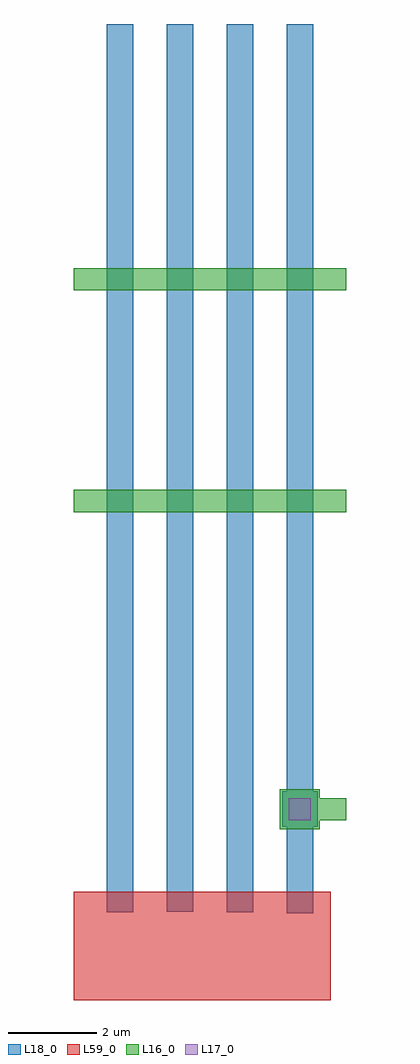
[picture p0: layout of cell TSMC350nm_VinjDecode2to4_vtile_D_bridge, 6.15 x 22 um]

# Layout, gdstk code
import gdstk
lib = gdstk.Library(unit=1e-6, precision=1e-09)
def R(c, l, rs):  # rectangles x0, y0, x1, y1
    for r in rs: c.add(gdstk.rectangle(r[:2], r[2:], *l))
L16_0 = (16, 0)
L17_0 = (17, 0)
L18_0 = (18, 0)
L59_0 = (59, 0)

prog_periph_via2_cdns_73 = lib.new_cell('prog_periph_VIA2_CDNS_739398233540')
R(prog_periph_via2_cdns_73, L16_0, [(-0.45,-0.45,0.45,0.45)])
R(prog_periph_via2_cdns_73, L17_0, [(-0.25,-0.25,0.25,0.25)])
R(prog_periph_via2_cdns_73, L18_0, [(-0.4,-0.4,0.4,0.4)])

tsmc350nm_vinjdecode2to4 = lib.new_cell('TSMC350nm_VinjDecode2to4_vtile_D_bridge')
R(tsmc350nm_vinjdecode2to4, L59_0, [(0,0,5.8,2.44)])
tsmc350nm_vinjdecode2to4.add(gdstk.FlexPath([(6.15,4.3),(5.08,4.3)], 0.5, ends="flush", simple_path=True, layer=16, datatype=0))  # L16_0
tsmc350nm_vinjdecode2to4.add(gdstk.FlexPath([(0,16.25),(6.15,16.25)], 0.5, ends="flush", simple_path=True, layer=16, datatype=0))  # L16_0
tsmc350nm_vinjdecode2to4.add(gdstk.FlexPath([(0,11.25),(6.15,11.25)], 0.5, ends="flush", simple_path=True, layer=16, datatype=0))  # L16_0
tsmc350nm_vinjdecode2to4.add(gdstk.FlexPath([(1.05,1.98),(1.05,22)], 0.6, ends="flush", simple_path=True, layer=18, datatype=0))  # L18_0
tsmc350nm_vinjdecode2to4.add(gdstk.FlexPath([(2.4,1.99),(2.4,22)], 0.6, ends="flush", simple_path=True, layer=18, datatype=0))  # L18_0
tsmc350nm_vinjdecode2to4.add(gdstk.FlexPath([(3.75,1.98),(3.75,22)], 0.6, ends="flush", simple_path=True, layer=18, datatype=0))  # L18_0
tsmc350nm_vinjdecode2to4.add(gdstk.FlexPath([(5.1,1.95),(5.1,22)], 0.6, ends="flush", simple_path=True, layer=18, datatype=0))  # L18_0
tsmc350nm_vinjdecode2to4.add(gdstk.Reference(prog_periph_via2_cdns_73, (5.1,4.3)))

lib.write_gds('TSMC350nm_VinjDecode2to4_vtile_D_bridge.gds')
